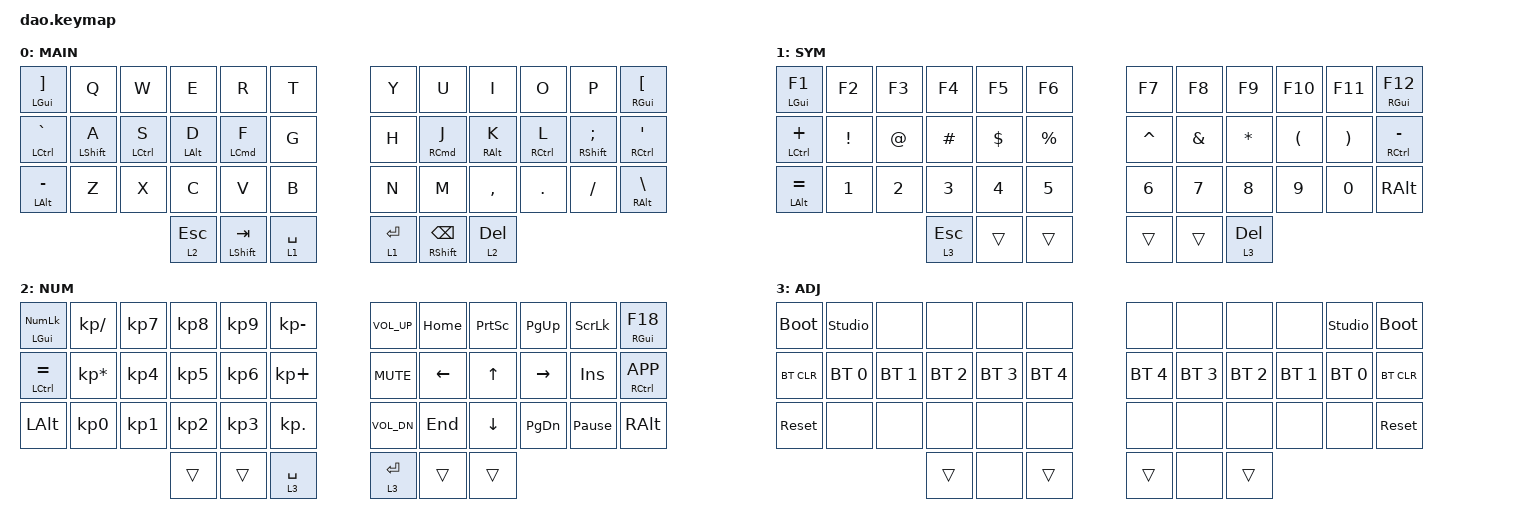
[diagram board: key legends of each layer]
/*
 * Copyright (c) 2021 Rafael Yumagulov
 *
 * SPDX-License-Identifier: MIT
 */

#include <behaviors.dtsi>
#include <dt-bindings/zmk/bt.h>
#include <dt-bindings/zmk/keys.h>

#define DEF 0
#define LWR 1
#define RSE 2
#define ADJ 3

&lt {
    flavor = "hold-preferred";
    quick_tap_ms = <200>;
};

&mt {
    flavor = "balanced";
    quick_tap_ms = <200>;
};

/ {
    chosen {
        zmk,physical_layout = &dao_crkbd_layout;

        // zmk,physical_layout = &dao_full_layout;
    };
};

/ {
    keymap {
        compatible = "zmk,keymap";

        default_layer {
            display-name = "MAIN";
            bindings = <
  &mt LGUI RBKT    &kp Q             &kp W               &kp E           &kp R               &kp T          &kp Y        &kp U                &kp I            &kp O                &kp P                 &mt RGUI LBKT
  &mt LCTRL GRAVE  &mt LEFT_SHIFT A  &mt LEFT_CONTROL S  &mt LEFT_ALT D  &mt LEFT_COMMAND F  &kp G          &kp H        &mt RIGHT_COMMAND J  &mt RIGHT_ALT K  &mt RIGHT_CONTROL L  &mt RIGHT_SHIFT SEMI  &mt RCTRL SQT
  &mt LALT MINUS   &kp Z             &kp X               &kp C           &kp V               &kp B          &kp N        &kp M                &kp COMMA        &kp DOT              &kp FSLH              &mt RALT BSLH
                                                         &lt 2 ESC    &mt LSHFT TAB       &lt 1 SPACE    &lt 1 RET  &mt RSHFT BSPC       &lt 2 DEL
            >;
        };

        lower_layer {
            display-name = "SYM";
            bindings = <
  &mt LGUI F1     &kp F2    &kp F3  &kp F4     &kp F5    &kp F6       &kp F7     &kp F8    &kp F9     &kp F10   &kp F11   &mt RGUI F12
  &mt LCTRL PLUS  &kp EXCL  &kp AT  &kp HASH   &kp DLLR  &kp PRCNT    &kp CARET  &kp AMPS  &kp STAR   &kp LPAR  &kp RPAR  &mt RCTRL MINUS
  &mt LALT EQUAL  &kp N1    &kp N2  &kp N3     &kp N4    &kp N5       &kp N6     &kp N7    &kp N8     &kp N9    &kp N0    &kp RALT
                                    &lt 3 ESC  &trans    &trans       &trans     &trans    &lt 3 DEL
            >;
        };

        raise_layer {
            display-name = "NUM";
            bindings = <
  &mt LGUI KP_NUM  &kp KP_SLASH     &kp KP_N7  &kp KP_N8  &kp KP_N9  &kp KP_MINUS    &kp C_VOL_UP  &kp HOME  &kp PSCRN  &kp PG_UP  &kp SLCK         &mt RGUI F18
  &mt LCTRL EQUAL  &kp KP_MULTIPLY  &kp KP_N4  &kp KP_N5  &kp KP_N6  &kp KP_PLUS     &kp C_MUTE    &kp LEFT  &kp UP     &kp RIGHT  &kp INS          &mt RCTRL K_APP
  &kp LALT         &kp KP_N0        &kp KP_N1  &kp KP_N2  &kp KP_N3  &kp KP_DOT      &kp C_VOL_DN  &kp END   &kp DOWN   &kp PG_DN  &kp PAUSE_BREAK  &kp RALT
                                               &trans     &trans     &lt 3 SPACE       &lt 3 RET     &trans    &trans
            >;
        };

        adjust_layer {
            display-name = "ADJ";
            bindings = <
  &bootloader  &studio_unlock  &none         &none         &none         &none           &none         &none         &none         &none         &studio_unlock  &bootloader
  &bt BT_CLR   &bt BT_SEL 0    &bt BT_SEL 1  &bt BT_SEL 2  &bt BT_SEL 3  &bt BT_SEL 4    &bt BT_SEL 4  &bt BT_SEL 3  &bt BT_SEL 2  &bt BT_SEL 1  &bt BT_SEL 0    &bt BT_CLR
  &sys_reset   &none           &none         &none         &none         &none           &none         &none         &none         &none         &none           &sys_reset
                                             &trans        &none         &trans          &trans        &none         &trans
            >;
        };
    };
};
